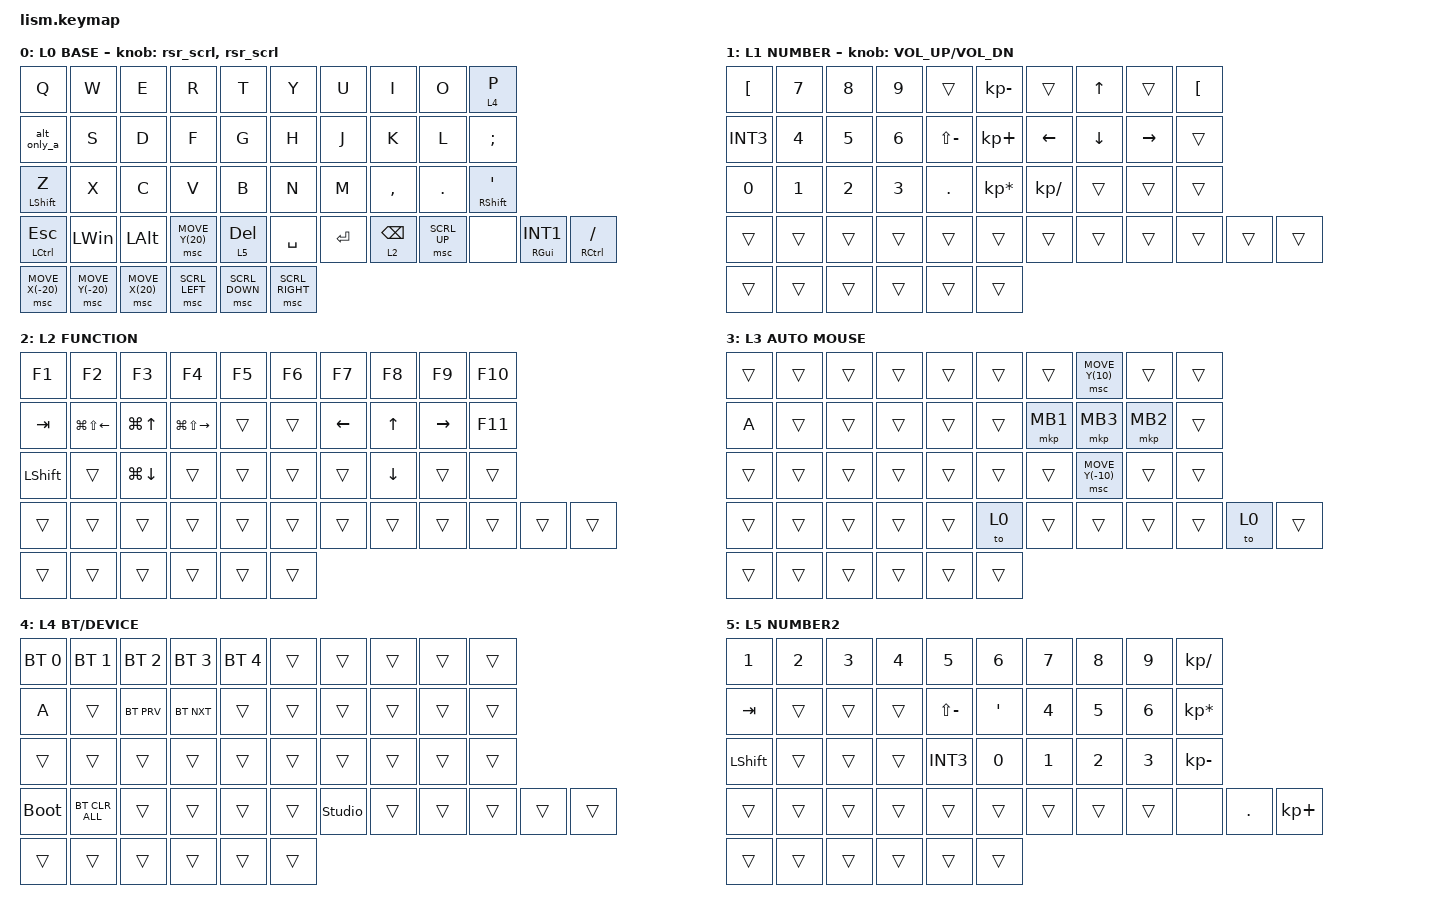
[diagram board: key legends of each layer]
#define ZMK_POINTING_DEFAULT_SCRL_VAL 100 // Keep existing scroll defaults for the encoder and other bindings
// Left 4-way stick L0: use MOVE_X/Y(20) for slower continuous scroll, independently of the 100 default.

#include <behaviors.dtsi>
#include <dt-bindings/zmk/bt.h>
#include <dt-bindings/zmk/keys.h>
#include <dt-bindings/zmk/pointing.h>
#include <dt-bindings/zmk/mouse.h>
#include <dt-bindings/zmk/modifiers.h>
#include <behaviors/runtime-sensor-rotate.dtsi>
#include <behaviors/default_layer.dtsi>
#include <dt-bindings/zmk_behavior_default_layer/default_layer.h>

&mt {
    tapping-term-ms = <300>;
    flavor = "balanced";
};

&lt {
    quick-tap-ms = <300>;
};


/ {
    macros {

        paren_pair: paren_pair {
            compatible = "zmk,behavior-macro";
            #binding-cells = <0>;
            wait-ms = <20>;
            tap-ms = <20>;
            bindings = <&kp LS(NUMBER_8) &kp LS(NUMBER_9) &kp LEFT_ARROW>;
        };
        bracket_pair: bracket_pair {
            compatible = "zmk,behavior-macro";
            #binding-cells = <0>;
            wait-ms = <20>;
            tap-ms = <20>;
            bindings = <&kp RIGHT_BRACKET &kp NUHS &kp LEFT_ARROW>;
        };
        // IME macros return to BASE only when triggered from AUTO MOUSE.
        ime_eisu_base: ime_eisu_base {
            compatible = "zmk,behavior-macro";
            #binding-cells = <0>;
            wait-ms = <30>;
            tap-ms = <30>;
            bindings = <&kp LANG2 &to 0>;
        };
        ime_kana_base: ime_kana_base {
            compatible = "zmk,behavior-macro";
            #binding-cells = <0>;
            wait-ms = <30>;
            tap-ms = <30>;
            bindings = <&kp LANG1 &to 0>;
        };
        emoji: emoji_macro {
            compatible = "zmk,behavior-macro";
            label = "EMOJI";
            #binding-cells = <0>;
            bindings = 
                <&macro_press &kp CAPSLOCK>,
                <&macro_tap &kp E>,
                <&macro_release &kp CAPSLOCK>;
        };
    };

    behaviors {
        // L0 A: Left Alt + A acts as Alt+Tab, but any other held modifier
        // (Ctrl, Win, right Alt) keeps the original A key; Shift+LeftAlt+A reverses Tab.
        alt_a_tab: alt_a_tab {
            compatible = "zmk,behavior-mod-morph";
            #binding-cells = <0>;
            bindings = <&kp A>, <&kp TAB>;
            mods = <MOD_LALT>;
            keep-mods = <MOD_LALT>;
        };

        alt_only_a: alt_only_a {
            compatible = "zmk,behavior-mod-morph";
            #binding-cells = <0>;
            bindings = <&alt_a_tab>, <&kp A>;
            mods = <(MOD_LCTL | MOD_RCTL | MOD_LGUI | MOD_RGUI | MOD_RALT)>;
            keep-mods = <(MOD_LCTL | MOD_RCTL | MOD_LGUI | MOD_RGUI | MOD_RALT)>;
        };

        encoder_kp: sensor_rotate_kp {
            compatible = "zmk,behavior-sensor-rotate-var";
            #sensor-binding-cells = <2>;
            bindings = <&kp>, <&kp>;
        };

        rsr_scrl: rsr_scrl {
            compatible = "zmk,behavior-runtime-sensor-rotate";
            #sensor-binding-cells = <0>;
            tap-ms = <20>;
            cw-binding = <&msc SCRL_UP>; // Reverse hardware-reported direction: physical CW should scroll down
            ccw-binding = <&msc SCRL_DOWN>; // Physical CCW should scroll up
        };
    };

    // Physical positions 0-29 match KobitoKey_DYA. Layer 3 is auto mouse.
    combos {
        compatible = "zmk,combos";
        // IME switching keeps the current number layer; only AUTO MOUSE returns to BASE.
        combo_eisu { timeout-ms = <50>; key-positions = <11 13>; bindings = <&kp LANG2>; layers = <0 1 5>; }; // S+F, BASE/NUMBER/NUMBER2
        combo_kana { timeout-ms = <50>; key-positions = <16 18>; bindings = <&kp LANG1>; layers = <0 1 5>; }; // J+L, BASE/NUMBER/NUMBER2
        combo_eisu_mouse { timeout-ms = <50>; key-positions = <11 13>; bindings = <&ime_eisu_base>; layers = <3>; }; // S+F, AUTO MOUSE -> BASE
        combo_kana_mouse { timeout-ms = <50>; key-positions = <16 18>; bindings = <&ime_kana_base>; layers = <3>; }; // J+L, AUTO MOUSE -> BASE
        combo_esc { timeout-ms = <50>; key-positions = <0 1>; bindings = <&kp ESC>; layers = <0>; };
        combo_tab { timeout-ms = <50>; key-positions = <10 11>; bindings = <&kp TAB>; layers = <0>; };
        combo_long_vowel { timeout-ms = <50>; key-positions = <8 9>; bindings = <&kp MINUS>; layers = <0 1 5>; };
        combo_at { timeout-ms = <50>; key-positions = <13 16>; bindings = <&kp LEFT_BRACKET>; layers = <0>; };
        combo_paren_pair { timeout-ms = <50>; key-positions = <18 19>; bindings = <&paren_pair>; layers = <0 1 5>; };
        combo_bracket_pair { timeout-ms = <50>; key-positions = <28 29>; bindings = <&bracket_pair>; layers = <0 1 5>; };
    };

    keymap {
        compatible = "zmk,keymap";

        default_layer {
            display-name = "L0 BASE";
            bindings = <
                &kp Q                 &kp W                 &kp E                 &kp R                 &kp T                 &kp Y                 &kp U                 &kp I                 &kp O                 &lt 4 P
                &alt_only_a           &kp S                 &kp D                 &kp F                 &kp G                 &kp H                 &kp J                 &kp K                 &kp L                 &kp SEMI
                &mt LSHIFT Z          &kp X                 &kp C                 &kp V                 &kp B                 &kp N                 &kp M                 &kp COMMA             &kp DOT               &mt RSHIFT APOS
                &mt LCTRL ESCAPE      &kp LWIN              &kp LALT              &msc MOVE_Y(20)       &lt 5 DEL             &kp SPACE             &kp ENTER             &lt 2 BACKSPACE       &msc SCRL_UP          &none                 &mt RGUI INT1         &mt RCTRL SLASH
                &msc MOVE_X(-20)      &msc MOVE_Y(-20)      &msc MOVE_X(20)       &msc SCRL_LEFT        &msc SCRL_DOWN        &msc SCRL_RIGHT
            >;
            sensor-bindings = <&rsr_scrl &rsr_scrl>;
        };

        layer_1 {
            display-name = "L1 NUMBER";
            bindings = <
                &kp LEFT_BRACKET      &kp NUMBER_7          &kp NUMBER_8          &kp NUMBER_9          &trans                &kp KP_MINUS          &trans                &kp UP_ARROW          &trans                &kp LEFT_BRACKET
                &kp INT3              &kp NUMBER_4          &kp NUMBER_5          &kp NUMBER_6          &kp LS(MINUS)         &kp KP_PLUS           &kp LEFT_ARROW        &kp DOWN_ARROW        &kp RIGHT_ARROW       &trans
                &kp NUMBER_0          &kp NUMBER_1          &kp NUMBER_2          &kp NUMBER_3          &kp PERIOD            &kp KP_MULTIPLY       &kp KP_SLASH          &trans                &trans                &trans
                &trans                &trans                &trans                &trans                &trans                &trans                &trans                &trans                &trans                &trans                &trans                &trans
                &trans                &trans                &trans                &trans                &trans                &trans
            >;
            sensor-bindings = <&encoder_kp C_VOL_UP C_VOL_DN>;
        };

        layer_2 {
            display-name = "L2 FUNCTION";
            bindings = <
                &kp F1                &kp F2                &kp F3                &kp F4                &kp F5                &kp F6                &kp F7                &kp F8                &kp F9                &kp F10
                &kp TAB               &kp LG(LS(LEFT_ARROW)) &kp LG(UP_ARROW)     &kp LG(LS(RIGHT_ARROW)) &trans             &trans                &kp LEFT_ARROW        &kp UP_ARROW          &kp RIGHT_ARROW       &kp F11
                &kp LEFT_SHIFT        &trans                &kp LG(DOWN_ARROW)   &trans                &trans                &trans                &trans                &kp DOWN_ARROW        &trans                &trans
                &trans                &trans                &trans                &trans                &trans                &trans                &trans                &trans                &trans                &trans                &trans                &trans
                &trans                &trans                &trans                &trans                &trans                &trans
            >;
        };

        layer_3 {
            display-name = "L3 AUTO MOUSE";
            // I / comma: vertical wheel up/down for Ctrl+wheel zoom, fine step 10.
            bindings = <
                &trans                &trans                &trans                &trans                &trans                &trans                &trans                &msc MOVE_Y(10)                &trans                &trans
                &kp A                 &trans                &trans                &trans                &trans                &trans                &mkp MB1              &mkp MB3              &mkp MB2              &trans
                &trans                &trans                &trans                &trans                &trans                &trans                &trans                &msc MOVE_Y(-10)                &trans                &trans
                &trans                &trans                &trans                &trans                &trans                &to 0                 &trans                &trans                &trans                &trans                &to 0                 &trans
                &trans                &trans                &trans                &trans                &trans                &trans
            >;
        };

        layer_4 {
            display-name = "L4 BT/DEVICE";
            bindings = <
                &bt BT_SEL 0          &bt BT_SEL 1          &bt BT_SEL 2          &bt BT_SEL 3          &bt BT_SEL 4          &trans                &trans                &trans                &trans                &trans
                &kp A                 &trans                &bt BT_PRV            &bt BT_NXT            &trans                &trans                &trans                &trans                &trans                &trans
                &trans            &trans                &trans                &trans                &trans                &trans                &trans                &trans                &trans                &trans
                &bootloader           &bt BT_CLR_ALL        &trans                &trans                &trans                &trans                &studio_unlock        &trans                &trans                &trans                &trans                &trans
                &trans                &trans                &trans                &trans                &trans                &trans
            >;
        };

        layer_5 {
            display-name = "L5 NUMBER2";
            bindings = <
                &kp N1                &kp N2                &kp N3                &kp N4                &kp N5                &kp N6                &kp N7                &kp N8                &kp N9                &kp KP_SLASH
                &kp TAB               &trans                &trans                &trans                &kp LS(MINUS)         &kp APOS              &kp N4                &kp N5                &kp N6                &kp KP_MULTIPLY
                &kp LEFT_SHIFT        &trans                &trans                &trans                &kp INT3              &kp N0                &kp N1                &kp N2                &kp N3                &kp KP_MINUS
                &trans                &trans                &trans                &trans                &trans                &trans                &trans                &trans                &trans                &none                 &kp PERIOD            &kp KP_PLUS
                &trans                &trans                &trans                &trans                &trans                &trans
            >;
        };

        layer_6 {
            status = "reserved";
            display-name = "Brank Layer";
            bindings = <
                &trans           &trans             &trans                &trans                  &trans                                                 &trans       &trans           &trans             &trans              &trans
                &trans           &trans             &trans                &trans                  &trans                                                 &trans       &trans           &trans             &trans              &trans
                &trans           &trans             &trans                &trans                  &trans                                                 &trans       &trans           &trans             &trans              &trans
                &trans           &trans             &trans                &trans                  &trans            &trans              &trans           &trans       &trans           &trans             &trans              &trans
                                                    &trans                &trans                  &trans                                                 &trans       &trans           &trans
            >;
        };

        layer_7 {
            status = "reserved";
            display-name = "Brank Layer";
            bindings = <
                &trans           &trans             &trans                &trans                  &trans                                                 &trans       &trans           &trans             &trans              &trans
                &trans           &trans             &trans                &trans                  &trans                                                 &trans       &trans           &trans             &trans              &trans
                &trans           &trans             &trans                &trans                  &trans                                                 &trans       &trans           &trans             &trans              &trans
                &trans           &trans             &trans                &trans                  &trans            &trans              &trans           &trans       &trans           &trans             &trans              &trans
                                                    &trans                &trans                  &trans                                                 &trans       &trans           &trans
            >;
        };
    };

};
